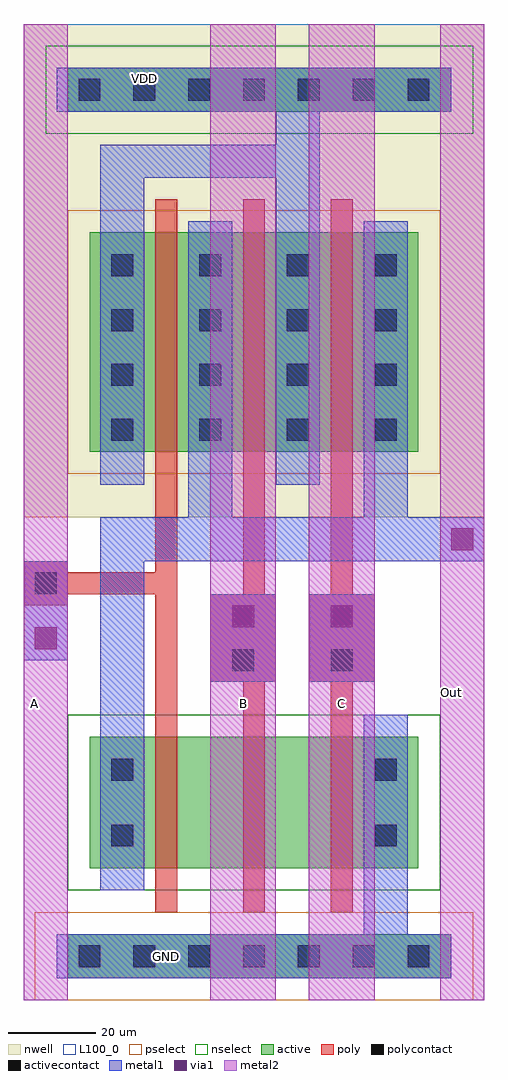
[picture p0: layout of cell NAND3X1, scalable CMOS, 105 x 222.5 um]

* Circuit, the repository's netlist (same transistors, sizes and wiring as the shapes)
* Extracted by KLayout (CIDESI_CM05, LNunT, CIDESI)

.SUBCKT NAND3X1 A B C VDD Out GND
M$1 Out A VDD VDD CIDPMOS L=5U W=50U AS=750P AD=375P PS=130U PD=65U
M$2 VDD B Out VDD CIDPMOS L=5U W=50U AS=375P AD=375P PS=65U PD=65U
M$3 Out C VDD VDD CIDPMOS L=5U W=50U AS=375P AD=750P PS=65U PD=130U
M$4 \$11 A Out GND CIDNMOS L=5U W=30U AS=450P AD=225P PS=90U PD=45U
M$5 \$10 B \$11 GND CIDNMOS L=5U W=30U AS=225P AD=225P PS=45U PD=45U
M$6 GND C \$10 GND CIDNMOS L=5U W=30U AS=225P AD=450P PS=45U PD=90U
.ENDS NAND3X1

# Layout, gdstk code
import gdstk
lib = gdstk.Library(unit=1e-6, precision=1e-09)
def R(c, l, rs):  # rectangles x0, y0, x1, y1
    for r in rs: c.add(gdstk.rectangle(r[:2], r[2:], *l))
def A(c, l, x, y, w, h, nx, ny, dx, dy):  # array of equal rectangles
    R(c, l, [(x+i*dx, y+j*dy, x+i*dx+w, y+j*dy+h) for i in range(nx) for j in range(ny)])
nwell = (42, 0)
active = (43, 0)
pselect = (44, 0)
nselect = (45, 0)
poly = (46, 0)
polycontact = (47, 0)
activecontact = (48, 0)
metal1 = (49, 0)
via1 = (50, 0)
metal2 = (51, 0)
L100_0 = (100, 0)

nand3x1 = lib.new_cell('NAND3X1')
R(nand3x1, nwell, [(0,110,105,222.5)])
R(nand3x1, active, [(10,5,97.5,15), (15,30,90,60), (15,125,90,175), (10,202.5,97.5,212.5)])
R(nand3x1, pselect, [(2.5,0,102.5,20), (10,120,95,180)])
R(nand3x1, nselect, [(10,25,95,65), (5,197.5,102.5,217.5)])
A(nand3x1, poly, 30, 20, 5, 162.5, 3, 1, 20, 0)
R(nand3x1, poly, [(42.5,72.5,57.5,92.5), (65,72.5,80,92.5), (0,90,10,100), (2.5,92.5,35,97.5)])
R(nand3x1, polycontact, [(47.5,75,52.5,80), (70,75,75,80), (2.5,92.5,7.5,97.5)])
A(nand3x1, activecontact, 12.5, 7.5, 5, 5, 7, 2, 12.5, 197.5)
A(nand3x1, activecontact, 20, 127.5, 5, 5, 4, 4, 20, 12.5)
R(nand3x1, activecontact, [(20,35,25,40), (80,35,85,40), (20,50,25,55), (80,50,85,55)])
R(nand3x1, metal1, [(7.5,5,97.5,15), (77.5,5,87.5,65), (17.5,25,27.5,102.5), (42.5,72.5,57.5,92.5), (65,72.5,80,92.5), (0,77.5,10,100), (17.5,100,105,110), (37.5,100,47.5,177.5), (77.5,100,87.5,177.5), (17.5,117.5,27.5,195), (57.5,117.5,67.5,212.5), (17.5,187.5,67.5,195), (7.5,202.5,97.5,212.5)])
R(nand3x1, via1, [(2.5,80,7.5,85), (47.5,85,52.5,90), (70,85,75,90), (97.5,102.5,102.5,107.5)])
R(nand3x1, metal2, [(0,0,10,222.5), (42.5,0,57.5,222.5), (65,0,80,222.5), (95,0,105,222.5)])
R(nand3x1, L100_0, [(0,0,105,222.5)])
nand3x1.add(gdstk.Label('A', (2.5,67.5), layer=51, texttype=1))
nand3x1.add(gdstk.Label('B', (50,67.5), layer=51, texttype=1))
nand3x1.add(gdstk.Label('C', (72.5,67.5), layer=51, texttype=1))
nand3x1.add(gdstk.Label('Out', (97.5,70), layer=51, texttype=1))
nand3x1.add(gdstk.Label('GND', (32.5,10), layer=49, texttype=1))
nand3x1.add(gdstk.Label('VDD', (27.5,210), layer=49, texttype=1))

lib.write_gds('NAND3X1.gds')
